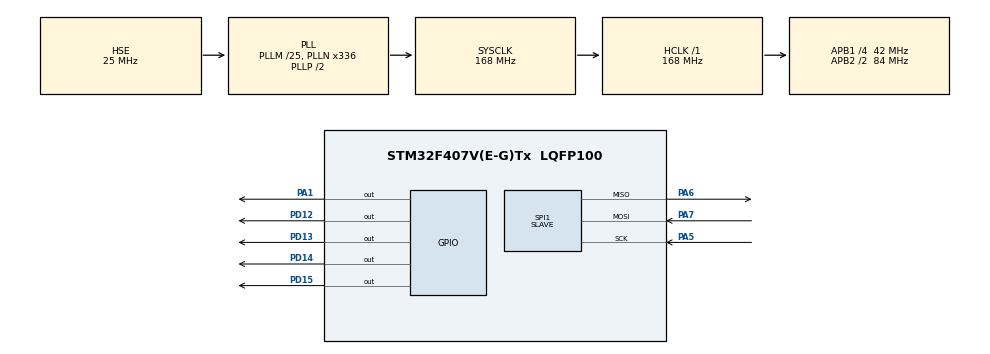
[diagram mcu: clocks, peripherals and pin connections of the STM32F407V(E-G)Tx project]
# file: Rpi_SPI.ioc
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Dma.Request0=SPI1_RX
Dma.Request1=SPI1_TX
Dma.SPI1_RX.0.Direction=DMA_PERIPH_TO_MEMORY
Dma.SPI1_RX.0.FIFOMode=DMA_FIFOMODE_DISABLE
Dma.SPI1_RX.0.Instance=DMA2_Stream0
Dma.SPI1_RX.0.MemDataAlignment=DMA_MDATAALIGN_BYTE
Dma.SPI1_RX.0.MemInc=DMA_MINC_ENABLE
Dma.SPI1_RX.0.Mode=DMA_CIRCULAR
Dma.SPI1_RX.0.PeriphDataAlignment=DMA_PDATAALIGN_BYTE
Dma.SPI1_RX.0.PeriphInc=DMA_PINC_DISABLE
Dma.SPI1_RX.0.Priority=DMA_PRIORITY_LOW
Dma.SPI1_TX.1.Direction=DMA_MEMORY_TO_PERIPH
Dma.SPI1_TX.1.FIFOMode=DMA_FIFOMODE_DISABLE
Dma.SPI1_TX.1.Instance=DMA2_Stream3
Dma.SPI1_TX.1.MemDataAlignment=DMA_MDATAALIGN_BYTE
Dma.SPI1_TX.1.MemInc=DMA_MINC_ENABLE
Dma.SPI1_TX.1.Mode=DMA_CIRCULAR
Dma.SPI1_TX.1.PeriphDataAlignment=DMA_PDATAALIGN_BYTE
Dma.SPI1_TX.1.PeriphInc=DMA_PINC_DISABLE
Dma.SPI1_TX.1.Priority=DMA_PRIORITY_LOW
Mcu.Family=STM32F4
Mcu.Name=STM32F407V(E-G)Tx
Mcu.Package=LQFP100
NVIC.DMA2_Stream0_IRQn=true\:0\:0\:false\:false\:true\:false\:true\:true
NVIC.DMA2_Stream3_IRQn=true\:0\:0\:false\:false\:true\:false\:true\:true
NVIC.PriorityGroup=NVIC_PRIORITYGROUP_4
PA1.Signal=GPIO_Output
PA13.Mode=Serial_Wire
PA13.Signal=SYS_JTMS-SWDIO
PA14.Mode=Serial_Wire
PA14.Signal=SYS_JTCK-SWCLK
PA5.Mode=Full_Duplex_Slave
PA5.Signal=SPI1_SCK
PA6.Mode=Full_Duplex_Slave
PA6.Signal=SPI1_MISO
PA7.Mode=Full_Duplex_Slave
PA7.Signal=SPI1_MOSI
PC14-OSC32_IN.Mode=LSE-External-Oscillator
PC14-OSC32_IN.Signal=RCC_OSC32_IN
PC15-OSC32_OUT.Mode=LSE-External-Oscillator
PC15-OSC32_OUT.Signal=RCC_OSC32_OUT
PD12.Signal=GPIO_Output
PD13.Signal=GPIO_Output
PD14.Signal=GPIO_Output
PD15.Signal=GPIO_Output
PH0-OSC_IN.Mode=HSE-External-Oscillator
PH0-OSC_IN.Signal=RCC_OSC_IN
PH1-OSC_OUT.Mode=HSE-External-Oscillator
PH1-OSC_OUT.Signal=RCC_OSC_OUT
ProjectManager.HeapSize=0x200
ProjectManager.StackSize=0x400
ProjectManager.TargetToolchain=STM32CubeIDE
RCC.48MHZClocksFreq_Value=84000000
RCC.AHBFreq_Value=168000000
RCC.APB1CLKDivider=RCC_HCLK_DIV4
RCC.APB1Freq_Value=42000000
RCC.APB1TimFreq_Value=84000000
RCC.APB2CLKDivider=RCC_HCLK_DIV2
RCC.APB2Freq_Value=84000000
RCC.APB2TimFreq_Value=168000000
RCC.CortexFreq_Value=168000000
RCC.HCLKFreq_Value=168000000
RCC.HSE_VALUE=25000000
RCC.HSI_VALUE=16000000
RCC.PLLM=25
RCC.PLLN=336
RCC.PLLSourceVirtual=RCC_PLLSOURCE_HSE
RCC.SYSCLKFreq_VALUE=168000000
RCC.SYSCLKSource=RCC_SYSCLKSOURCE_PLLCLK
RCC.VCOOutputFreq_Value=336000000
SPI1.Direction=SPI_DIRECTION_2LINES
SPI1.Mode=SPI_MODE_SLAVE
SPI1.VirtualType=VM_SLAVE
board=custom

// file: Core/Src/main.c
/* USER CODE BEGIN Header */
/**
  ******************************************************************************
  * @file           : main.c
  * @brief          : Main program body
  ******************************************************************************
  * @attention
  *
  * Copyright (c) 2025 STMicroelectronics.
  * All rights reserved.
  *
  * This software is licensed under terms that can be found in the LICENSE file
  * in the root directory of this software component.
  * If no LICENSE file comes with this software, it is provided AS-IS.
  *
  ******************************************************************************
  */
/* USER CODE END Header */
#include "main.h"

/* USER CODE BEGIN Includes */
#include <stdio.h>
#include <string.h>
#include <stdlib.h>
/* USER CODE END Includes */

/* USER CODE BEGIN PD */
uint8_t tx_data[8]={0x04, 0x06, 0x08, 0x04, 0xFE, 0xFD, 0xFC, 0xFB};
uint8_t rx_data[8];

/* USER CODE END PD */

SPI_HandleTypeDef hspi1;
DMA_HandleTypeDef hdma_spi1_rx;
DMA_HandleTypeDef hdma_spi1_tx;

void SystemClock_Config(void);
static void MX_GPIO_Init(void);
static void MX_DMA_Init(void);
static void MX_SPI1_Init(void);

int main(void)
{

  /* MCU Configuration--------------------------------------------------------*/

  /* Reset of all peripherals, Initializes the Flash interface and the Systick. */
  HAL_Init();

  /* Configure the system clock */
  SystemClock_Config();

  /* Initialize all configured peripherals */
  MX_GPIO_Init();
  MX_DMA_Init();
  MX_SPI1_Init();
  /* USER CODE BEGIN 2 */
  HAL_SPI_TransmitReceive_DMA(&hspi1, tx_data, rx_data, 8);

  srand(HAL_GetTick());
  /* USER CODE END 2 */

  /* Infinite loop */
  /* USER CODE BEGIN WHILE */
  while (1)
  {

	  	  HAL_GPIO_WritePin(GPIOD, GPIO_PIN_12|GPIO_PIN_14, GPIO_PIN_SET);
	      HAL_GPIO_WritePin(GPIOD, GPIO_PIN_13|GPIO_PIN_15, GPIO_PIN_RESET);
	      HAL_Delay(200);

	      HAL_GPIO_WritePin(GPIOD, GPIO_PIN_12|GPIO_PIN_14, GPIO_PIN_RESET);
	      HAL_GPIO_WritePin(GPIOD, GPIO_PIN_13|GPIO_PIN_15, GPIO_PIN_SET);
	      HAL_Delay(200);
    /* USER CODE END WHILE */

  }
}

void SystemClock_Config(void)
{
  RCC_OscInitTypeDef RCC_OscInitStruct = {0};
  RCC_ClkInitTypeDef RCC_ClkInitStruct = {0};

  /** Configure the main internal regulator output voltage
  */
  __HAL_RCC_PWR_CLK_ENABLE();
  __HAL_PWR_VOLTAGESCALING_CONFIG(PWR_REGULATOR_VOLTAGE_SCALE1);

  /** Initializes the RCC Oscillators according to the specified parameters
  * in the RCC_OscInitTypeDef structure.
  */
  RCC_OscInitStruct.OscillatorType = RCC_OSCILLATORTYPE_HSE;
  RCC_OscInitStruct.HSEState = RCC_HSE_ON;
  RCC_OscInitStruct.PLL.PLLState = RCC_PLL_ON;
  RCC_OscInitStruct.PLL.PLLSource = RCC_PLLSOURCE_HSE;
  RCC_OscInitStruct.PLL.PLLM = 25;
  RCC_OscInitStruct.PLL.PLLN = 336;
  RCC_OscInitStruct.PLL.PLLP = RCC_PLLP_DIV2;
  RCC_OscInitStruct.PLL.PLLQ = 4;
  if (HAL_RCC_OscConfig(&RCC_OscInitStruct) != HAL_OK)
  {
    Error_Handler();
  }

  /** Initializes the CPU, AHB and APB buses clocks
  */
  RCC_ClkInitStruct.ClockType = RCC_CLOCKTYPE_HCLK|RCC_CLOCKTYPE_SYSCLK
                              |RCC_CLOCKTYPE_PCLK1|RCC_CLOCKTYPE_PCLK2;
  RCC_ClkInitStruct.SYSCLKSource = RCC_SYSCLKSOURCE_PLLCLK;
  RCC_ClkInitStruct.AHBCLKDivider = RCC_SYSCLK_DIV1;
  RCC_ClkInitStruct.APB1CLKDivider = RCC_HCLK_DIV4;
  RCC_ClkInitStruct.APB2CLKDivider = RCC_HCLK_DIV2;

  if (HAL_RCC_ClockConfig(&RCC_ClkInitStruct, FLASH_LATENCY_5) != HAL_OK)
  {
    Error_Handler();
  }
}

static void MX_SPI1_Init(void)
{

  /* SPI1 parameter configuration*/
  hspi1.Instance = SPI1;
  hspi1.Init.Mode = SPI_MODE_SLAVE;
  hspi1.Init.Direction = SPI_DIRECTION_2LINES;
  hspi1.Init.DataSize = SPI_DATASIZE_8BIT;
  hspi1.Init.CLKPolarity = SPI_POLARITY_LOW;
  hspi1.Init.CLKPhase = SPI_PHASE_1EDGE;
  hspi1.Init.NSS = SPI_NSS_SOFT;
  hspi1.Init.FirstBit = SPI_FIRSTBIT_MSB;
  hspi1.Init.TIMode = SPI_TIMODE_DISABLE;
  hspi1.Init.CRCCalculation = SPI_CRCCALCULATION_DISABLE;
  hspi1.Init.CRCPolynomial = 10;
  if (HAL_SPI_Init(&hspi1) != HAL_OK)
  {
    Error_Handler();
  }

}

static void MX_DMA_Init(void)
{

  /* DMA controller clock enable */
  __HAL_RCC_DMA2_CLK_ENABLE();

  /* DMA interrupt init */
  /* DMA2_Stream0_IRQn interrupt configuration */
  HAL_NVIC_SetPriority(DMA2_Stream0_IRQn, 0, 0);
  HAL_NVIC_EnableIRQ(DMA2_Stream0_IRQn);
  /* DMA2_Stream3_IRQn interrupt configuration */
  HAL_NVIC_SetPriority(DMA2_Stream3_IRQn, 0, 0);
  HAL_NVIC_EnableIRQ(DMA2_Stream3_IRQn);

}

static void MX_GPIO_Init(void)
{
  GPIO_InitTypeDef GPIO_InitStruct = {0};

  /* GPIO Ports Clock Enable */
  __HAL_RCC_GPIOC_CLK_ENABLE();
  __HAL_RCC_GPIOH_CLK_ENABLE();
  __HAL_RCC_GPIOA_CLK_ENABLE();
  __HAL_RCC_GPIOD_CLK_ENABLE();

  /*Configure GPIO pin Output Level */
  HAL_GPIO_WritePin(GPIOA, GPIO_PIN_1, GPIO_PIN_RESET);

  /*Configure GPIO pin Output Level */
  HAL_GPIO_WritePin(GPIOD, GPIO_PIN_12|GPIO_PIN_13|GPIO_PIN_14|GPIO_PIN_15, GPIO_PIN_RESET);

  /*Configure GPIO pin : PA1 */
  GPIO_InitStruct.Pin = GPIO_PIN_1;
  GPIO_InitStruct.Mode = GPIO_MODE_OUTPUT_PP;
  GPIO_InitStruct.Pull = GPIO_NOPULL;
  GPIO_InitStruct.Speed = GPIO_SPEED_FREQ_LOW;
  HAL_GPIO_Init(GPIOA, &GPIO_InitStruct);

  /*Configure GPIO pins : PD12 PD13 PD14 PD15 */
  GPIO_InitStruct.Pin = GPIO_PIN_12|GPIO_PIN_13|GPIO_PIN_14|GPIO_PIN_15;
  GPIO_InitStruct.Mode = GPIO_MODE_OUTPUT_PP;
  GPIO_InitStruct.Pull = GPIO_NOPULL;
  GPIO_InitStruct.Speed = GPIO_SPEED_FREQ_LOW;
  HAL_GPIO_Init(GPIOD, &GPIO_InitStruct);

}

/* USER CODE BEGIN 4 */
void HAL_SPI_TxRxCpltCallback(SPI_HandleTypeDef *hspi)
{
    if (hspi->Instance == SPI1)
    {
        // Just restart SPI DMA with the fixed tx_data
        HAL_SPI_TransmitReceive_DMA(&hspi1, tx_data, rx_data, 8);
    }
}

/* USER CODE END 4 */

void Error_Handler(void)
{
  __disable_irq();
  while (1)
  {
  }
}
